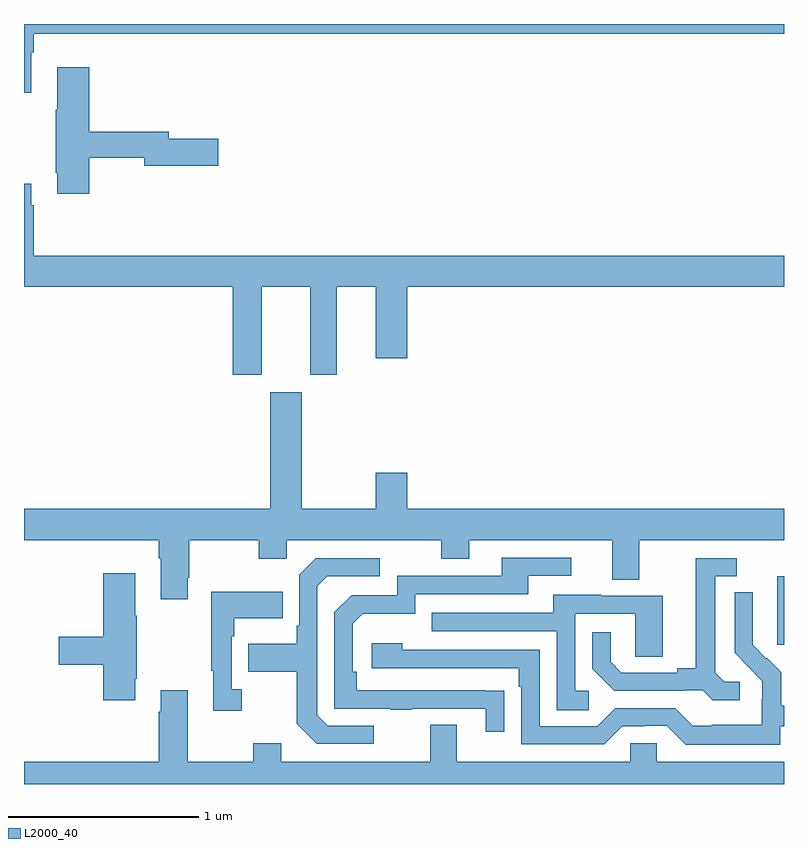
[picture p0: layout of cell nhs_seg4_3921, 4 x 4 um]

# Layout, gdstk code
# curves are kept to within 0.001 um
import gdstk
lib = gdstk.Library(unit=1e-6, precision=1e-09)
def R(c, l, rs):  # rectangles x0, y0, x1, y1
    for r in rs: c.add(gdstk.rectangle(r[:2], r[2:], *l))
def P(c, l, *ps):  # polygons
    for p in ps: c.add(gdstk.Polygon(p, *l))
L2000_40 = (2000, 40)

nhs_seg4_3921 = lib.new_cell('nhs_seg4_3921')
R(nhs_seg4_3921, L2000_40, [(322.964,765.633,323,765.994)])
P(nhs_seg4_3921, L2000_40, [(319.039,768.752),(319.052,768.752),(319.052,768.848),(323,768.848),(323,768.9),(319,768.9),(319,768.537),(319.039,768.537)],
  [(319.343,768.196),(319.634,768.196),(319.634,768.154),(320.023,768.154),(320.023,768.296),(319.762,768.296),(319.762,768.332),(319.343,768.332),(319.343,768.673),(319.175,768.673),(319.175,768.449),(319.168,768.449),(319.168,768.118),(319.175,768.118),(319.175,768.006),(319.343,768.006)],
  [(320.251,767.516),(320.507,767.516),(320.507,767.055),(320.647,767.055),(320.647,767.516),(320.852,767.516),(320.852,767.142),(321.016,767.142),(321.016,767.516),(323,767.516),(323,767.68),(319.052,767.68),(319.052,767.945),(319.039,767.945),(319.039,768.058),(319,768.058),(319,767.516),(320.099,767.516),(320.099,767.055),(320.251,767.055)],
  [(319.861,765.985),(319.869,765.985),(319.869,766.184),(320.236,766.184),(320.236,766.085),(320.382,766.085),(320.382,766.184),(321.196,766.184),(321.196,766.085),(321.343,766.085),(321.343,766.184),(322.097,766.184),(322.097,765.976),(322.237,765.976),(322.237,766.184),(323,766.184),(323,766.348),(321.016,766.348),(321.016,766.537),(320.852,766.537),(320.852,766.348),(320.461,766.348),(320.461,766.963),(320.297,766.963),(320.297,766.348),(319,766.348),(319,766.184),(319.709,766.184),(319.709,766.088),(319.721,766.088),(319.721,765.873),(319.861,765.873)],
  [(321.527,765.392),(320.75,765.393),(320.75,765.49),(320.73,765.49),(320.73,765.744),(320.783,765.797),(321.06,765.797),(321.06,765.9),(321.655,765.9),(321.655,765.996),(321.88,765.996),(321.88,766.092),(321.515,766.092),(321.515,765.996),(320.964,765.996),(320.964,765.894),(320.724,765.894),(320.634,765.804),(320.634,765.297),(320.929,765.297),(320.929,765.292),(321.041,765.292),(321.041,765.297),(321.431,765.297),(321.431,765.174),(321.527,765.174)],
  [(320.842,765.207),(320.598,765.207),(320.544,765.261),(320.544,765.942),(320.595,765.993),(320.872,765.993),(320.872,766.089),(320.535,766.089),(320.448,766.002),(320.448,765.733),(320.436,765.733),(320.436,765.637),(320.179,765.637),(320.179,765.49),(320.436,765.49),(320.436,765.217),(320.541,765.111),(320.842,765.111)],
  [(322.768,765.438),(322.686,765.438),(322.639,765.485),(322.639,765.993),(322.75,765.993),(322.75,766.089),(322.535,766.089),(322.535,765.509),(322.439,765.509),(322.439,765.486),(322.144,765.486),(322.087,765.543),(322.087,765.7),(321.99,765.7),(321.99,765.506),(322.106,765.39),(322.478,765.39),(322.478,765.393),(322.572,765.393),(322.624,765.341),(322.768,765.341)],
  [(319.585,765.454),(319.593,765.454),(319.593,765.785),(319.585,765.785),(319.585,766.009),(319.418,766.009),(319.418,765.674),(319.182,765.674),(319.182,765.527),(319.418,765.527),(319.418,765.342),(319.585,765.342)],
  [(320.146,765.398),(320.094,765.398),(320.094,765.677),(320.107,765.677),(320.107,765.773),(320.363,765.773),(320.363,765.913),(319.986,765.913),(319.986,765.497),(319.997,765.497),(319.997,765.285),(320.146,765.285)],
  [(322.98,765.204),(323,765.204),(323,765.313),(322.985,765.313),(322.985,765.487),(322.908,765.564),(322.905,765.561),(322.835,765.632),(322.836,765.908),(322.74,765.908),(322.74,765.59),(322.886,765.442),(322.886,765.345),(322.884,765.345),(322.884,765.211),(322.621,765.211),(322.621,765.207),(322.521,765.207),(322.428,765.3),(322.113,765.3),(322.017,765.204),(321.714,765.204),(321.714,765.606),(320.99,765.606),(320.99,765.64),(320.829,765.64),(320.829,765.51),(321.605,765.51),(321.605,765.413),(321.618,765.413),(321.618,765.108),(322.053,765.108),(322.149,765.204),(322.268,765.204),(322.268,765.207),(322.383,765.207),(322.483,765.107),(322.98,765.107)],
  [(321.973,765.39),(321.9,765.39),(321.9,765.795),(322.218,765.795),(322.218,765.571),(322.363,765.571),(322.363,765.891),(322.039,765.891),(322.039,765.895),(321.785,765.895),(321.785,765.801),(321.145,765.801),(321.145,765.705),(321.804,765.705),(321.804,765.289),(321.973,765.289)],
  [(323,765.016),(322.329,765.016),(322.329,765.114),(322.191,765.114),(322.191,765.016),(321.277,765.016),(321.277,765.211),(321.137,765.211),(321.137,765.016),(320.353,765.016),(320.353,765.115),(320.206,765.115),(320.206,765.016),(319.861,765.016),(319.861,765.394),(319.721,765.394),(319.721,765.281),(319.709,765.281),(319.709,765.016),(319,765.016),(319,764.9),(323,764.9)])

lib.write_gds('nhs_seg4_3921.gds')
